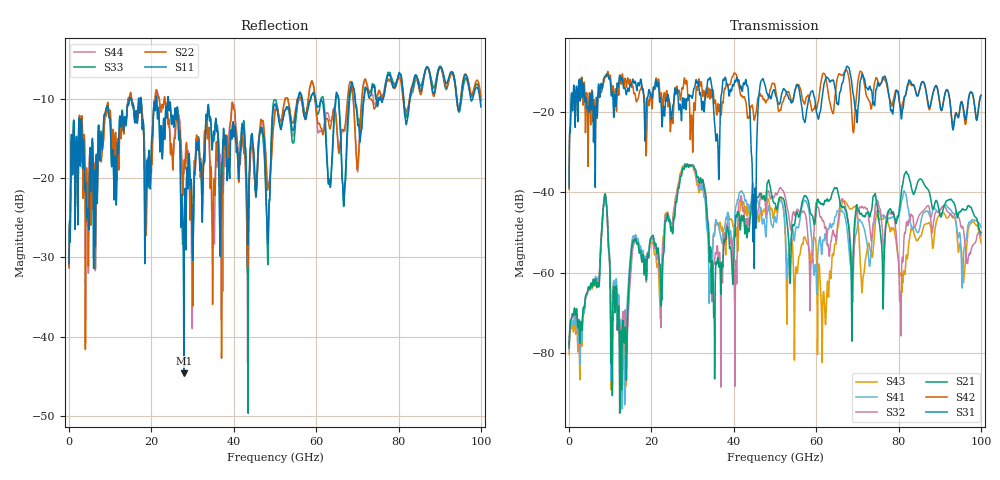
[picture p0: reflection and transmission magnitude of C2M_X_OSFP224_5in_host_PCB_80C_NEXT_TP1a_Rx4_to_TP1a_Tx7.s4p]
# GHz S RI R 45
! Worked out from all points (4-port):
!   4000 points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, 25 MHz to 100 GHz, reference 45 ohm
!   strongest paths, dB at 25 MHz, 25.02 GHz, 50.02 GHz, 75.03 GHz, 100 GHz:
!     S31: -38.7, -20.2, -15.4, -12.8, -16.0
!     S42: -39.3, -21.6, -13.7, -12.5, -15.9
!     S21: -78.7, -49.2, -42.8, -45.3, -50.1
!     S32: -78.0, -48.0, -40.5, -42.4, -50.8
!     S41: -79.2, -49.3, -46.1, -46.4, -48.7
!     S43: -80.4, -47.7, -43.9, -44.4, -52.6
!   lowest |S11| = -44.6 dB at 27.88 GHz (marker M1), VSWR 1.01, Z = 44.6 - j0.295 ohm
!   |S11| at or under -10 dB: start of sweep to 14.66 GHz; 24.12 GHz to 55.54 GHz (31.42 GHz wide, 78.9 % of centre); 59.91 GHz to 64.73 GHz (4.818 GHz wide, 7.73 % of centre) (the widest 3 of 18)
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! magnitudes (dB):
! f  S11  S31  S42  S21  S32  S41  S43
! 25 MHz  -30.8  -38.7  -39.3  -78.7  -78.0  -79.2  -80.4
! 27.88 GHz  -44.6  -19.3  -12.4  -34.4  -34.1  -34.0  -33.6
! 35.02 GHz  -14.2  -18.0  -15.0  -64.1  -58.4  -51.1  -51.0
! 43.08 GHz  -19.7  -12.9  -18.5  -49.4  -48.5  -42.5  -44.6
! 44.98 GHz  -17.7  -59.0  -22.2  -43.4  -48.7  -41.7  -46.4
! 46.92 GHz  -13.9  -11.9  -16.1  -41.5  -41.8  -47.8  -45.5
! 100 GHz  -11.0  -16.0  -15.9  -50.1  -50.8  -48.7  -52.6
